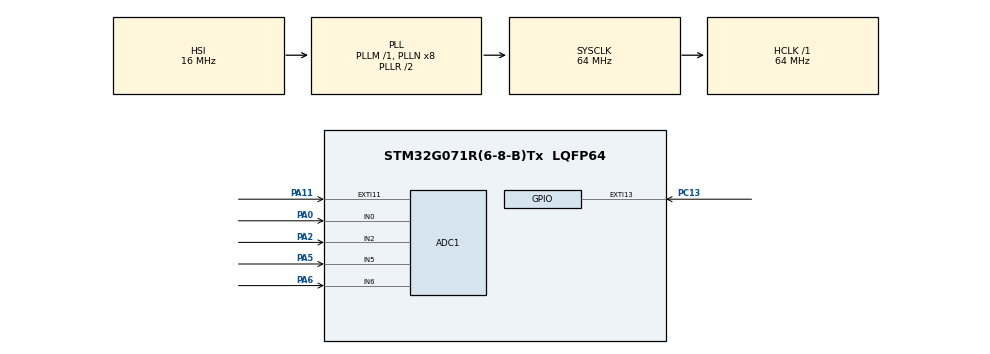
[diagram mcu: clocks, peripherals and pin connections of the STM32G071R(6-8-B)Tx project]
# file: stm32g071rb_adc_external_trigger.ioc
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ADC1.AWD1HighThreshold=212
ADC1.AWD1ITMode=ENABLE
ADC1.Channel-0\#ChannelRegularConversion=ADC_CHANNEL_0
ADC1.Channel-1\#ChannelRegularConversion=ADC_CHANNEL_2
ADC1.Channel-2\#ChannelRegularConversion=ADC_CHANNEL_5
ADC1.Channel-3\#ChannelRegularConversion=ADC_CHANNEL_6
ADC1.ClockPrescaler=ADC_CLOCK_ASYNC_DIV4
ADC1.DMAContinuousRequests=ENABLE
ADC1.EnableAnalogWatchDog1=true
ADC1.EnableAnalogWatchDog2=false
ADC1.ExternalTrigConvEdge=ADC_EXTERNALTRIGCONVEDGE_FALLING
ADC1.NbrOfConversion=4
ADC1.NbrOfConversionFlag=1
ADC1.OversamplingMode=ENABLE
ADC1.Rank-0\#ChannelRegularConversion=1
ADC1.Rank-1\#ChannelRegularConversion=2
ADC1.Rank-2\#ChannelRegularConversion=3
ADC1.Rank-3\#ChannelRegularConversion=4
ADC1.Ratio=ADC_OVERSAMPLING_RATIO_4
ADC1.RightBitShift=ADC_RIGHTBITSHIFT_2
ADC1.SamplingTime-0\#ChannelRegularConversion=ADC_SAMPLINGTIME_COMMON_1
ADC1.SamplingTime-1\#ChannelRegularConversion=ADC_SAMPLINGTIME_COMMON_1
ADC1.SamplingTime-2\#ChannelRegularConversion=ADC_SAMPLINGTIME_COMMON_1
ADC1.SamplingTime-3\#ChannelRegularConversion=ADC_SAMPLINGTIME_COMMON_1
ADC1.SelectedChannel=ADC_CHANNEL_0|ADC_CHANNEL_2|ADC_CHANNEL_5|ADC_CHANNEL_6
ADC1.master=1
Dma.ADC1.0.Direction=DMA_PERIPH_TO_MEMORY
Dma.ADC1.0.EventEnable=DISABLE
Dma.ADC1.0.Instance=DMA1_Channel1
Dma.ADC1.0.MemDataAlignment=DMA_MDATAALIGN_HALFWORD
Dma.ADC1.0.MemInc=DMA_MINC_ENABLE
Dma.ADC1.0.Mode=DMA_CIRCULAR
Dma.ADC1.0.PeriphDataAlignment=DMA_PDATAALIGN_HALFWORD
Dma.ADC1.0.PeriphInc=DMA_PINC_DISABLE
Dma.ADC1.0.Polarity=HAL_DMAMUX_REQ_GEN_RISING
Dma.ADC1.0.Priority=DMA_PRIORITY_LOW
Dma.ADC1.0.RequestNumber=1
Dma.ADC1.0.SignalID=NONE
Dma.ADC1.0.SyncEnable=DISABLE
Dma.ADC1.0.SyncPolarity=HAL_DMAMUX_SYNC_NO_EVENT
Dma.ADC1.0.SyncRequestNumber=1
Dma.ADC1.0.SyncSignalID=NONE
Dma.Request0=ADC1
Mcu.Family=STM32G0
Mcu.Name=STM32G071R(6-8-B)Tx
Mcu.Package=LQFP64
NVIC.ADC1_COMP_IRQn=true\:0\:0\:false\:false\:true\:true\:true
NVIC.DMA1_Channel1_IRQn=true\:0\:0\:false\:false\:true\:false\:true
PA0.Mode=IN0
PA0.Signal=ADC1_IN0
PA11\ [PA9].Signal=GPXTI11
PA2.Mode=IN2
PA2.Signal=ADC1_IN2
PA5.Mode=IN5
PA5.Signal=ADC1_IN5
PA6.Mode=IN6
PA6.Signal=ADC1_IN6
PC13.GPIO_ModeDefaultEXTI=GPIO_MODE_EVT_FALLING
PC13.Signal=GPXTI13
ProjectManager.HeapSize=0x200
ProjectManager.StackSize=0x400
ProjectManager.TargetToolchain=MDK-ARM V5
RCC.ADCFreq_Value=64000000
RCC.AHBFreq_Value=64000000
RCC.CortexFreq_Value=64000000
RCC.EXTERNAL_CLOCK_VALUE=48000
RCC.HCLKFreq_Value=64000000
RCC.HSE_VALUE=8000000
RCC.HSI_VALUE=16000000
RCC.LSE_VALUE=32768
RCC.SYSCLKFreq_VALUE=64000000
RCC.SYSCLKSource=RCC_SYSCLKSOURCE_PLLCLK
RCC.VCOOutputFreq_Value=128000000
VP_SYS_VS_DBSignals.Mode=DisableDeadBatterySignals
board=custom

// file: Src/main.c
/* USER CODE BEGIN Header */
/**
  ******************************************************************************
  * @file           : main.c
  * @brief          : Main program body
  ******************************************************************************
  * @attention
  *
  * <h2><center>&copy; Copyright (c) 2020 STMicroelectronics.
  * All rights reserved.</center></h2>
  *
  * This software component is licensed by ST under BSD 3-Clause license,
  * the "License"; You may not use this file except in compliance with the
  * License. You may obtain a copy of the License at:
  *                        opensource.org/licenses/BSD-3-Clause
  *
  ******************************************************************************
  */
/* USER CODE END Header */
#include "main.h"
#include "adc.h"
#include "dma.h"
#include "gpio.h"

void SystemClock_Config(void);

/* USER CODE BEGIN 0 */
#define adc_len (4)
static uint16_t aADCxConvertedData[adc_len];
enum
{
	EXTI_TRIGGER = 0x00,
	SOFT_TRIGGER = 0x01
};
static uint8_t ADC_TRIGGER = EXTI_TRIGGER;
static uint8_t CLL_OCP_FLAG = RESET;
/* USER CODE END 0 */

int main(void)
{

  /* MCU Configuration--------------------------------------------------------*/

  /* Reset of all peripherals, Initializes the Flash interface and the Systick. */
  HAL_Init();

  /* Configure the system clock */
  SystemClock_Config();

  /* Initialize all configured peripherals */
  MX_GPIO_Init();
  MX_DMA_Init();
  MX_ADC1_Init();
  /* USER CODE BEGIN 2 */
 /* Run the ADC calibration */
   if (HAL_ADCEx_Calibration_Start(&hadc1) != HAL_OK)
   {
       Error_Handler();
   }
    /* Start ADC group regular conversion with DMA */
   if (HAL_ADC_Start_DMA(&hadc1,(uint32_t *)aADCxConvertedData, adc_len) != HAL_OK)
   {
       Error_Handler();
   }

  /* USER CODE END 2 */

  /* Infinite loop */
  while (1)
  {

  }
}

void SystemClock_Config(void)
{
  RCC_OscInitTypeDef RCC_OscInitStruct = {0};
  RCC_ClkInitTypeDef RCC_ClkInitStruct = {0};
  RCC_PeriphCLKInitTypeDef PeriphClkInit = {0};

  /** Configure the main internal regulator output voltage
  */
  HAL_PWREx_ControlVoltageScaling(PWR_REGULATOR_VOLTAGE_SCALE1);
  /** Initializes the RCC Oscillators according to the specified parameters
  * in the RCC_OscInitTypeDef structure.
  */
  RCC_OscInitStruct.OscillatorType = RCC_OSCILLATORTYPE_HSI;
  RCC_OscInitStruct.HSIState = RCC_HSI_ON;
  RCC_OscInitStruct.HSIDiv = RCC_HSI_DIV1;
  RCC_OscInitStruct.HSICalibrationValue = RCC_HSICALIBRATION_DEFAULT;
  RCC_OscInitStruct.PLL.PLLState = RCC_PLL_ON;
  RCC_OscInitStruct.PLL.PLLSource = RCC_PLLSOURCE_HSI;
  RCC_OscInitStruct.PLL.PLLM = RCC_PLLM_DIV1;
  RCC_OscInitStruct.PLL.PLLN = 8;
  RCC_OscInitStruct.PLL.PLLP = RCC_PLLP_DIV2;
  RCC_OscInitStruct.PLL.PLLQ = RCC_PLLQ_DIV2;
  RCC_OscInitStruct.PLL.PLLR = RCC_PLLR_DIV2;
  if (HAL_RCC_OscConfig(&RCC_OscInitStruct) != HAL_OK)
  {
    Error_Handler();
  }
  /** Initializes the CPU, AHB and APB buses clocks
  */
  RCC_ClkInitStruct.ClockType = RCC_CLOCKTYPE_HCLK|RCC_CLOCKTYPE_SYSCLK
                              |RCC_CLOCKTYPE_PCLK1;
  RCC_ClkInitStruct.SYSCLKSource = RCC_SYSCLKSOURCE_PLLCLK;
  RCC_ClkInitStruct.AHBCLKDivider = RCC_SYSCLK_DIV1;
  RCC_ClkInitStruct.APB1CLKDivider = RCC_HCLK_DIV1;

  if (HAL_RCC_ClockConfig(&RCC_ClkInitStruct, FLASH_LATENCY_2) != HAL_OK)
  {
    Error_Handler();
  }
  /** Initializes the peripherals clocks
  */
  PeriphClkInit.PeriphClockSelection = RCC_PERIPHCLK_ADC;
  PeriphClkInit.AdcClockSelection = RCC_ADCCLKSOURCE_SYSCLK;
  if (HAL_RCCEx_PeriphCLKConfig(&PeriphClkInit) != HAL_OK)
  {
    Error_Handler();
  }
}

/* USER CODE BEGIN 4 */
void HAL_ADC_ConvCpltCallback(ADC_HandleTypeDef *hadc)
{
	if(CLL_OCP_FLAG == SET)
	{
    if(ADC_TRIGGER == EXTI_TRIGGER)
	  {
			//goto software trigger
			HAL_ADC_Stop_DMA(&hadc1);
			hadc1.Init.ExternalTrigConv = ADC_SOFTWARE_START;
			hadc1.Init.ExternalTrigConvEdge = ADC_EXTERNALTRIGCONVEDGE_NONE;
			if (HAL_ADC_Init(&hadc1) != HAL_OK)
			{
				Error_Handler();
			}

			ADC_TRIGGER = SOFT_TRIGGER;
			if (HAL_ADC_Start_DMA(&hadc1,(uint32_t *)aADCxConvertedData, adc_len) != HAL_OK)
			{
				Error_Handler();
			}
		}
		else
		{
			if(ADC_TRIGGER == SOFT_TRIGGER)
			{
				if(aADCxConvertedData[0] < 3400)
				{
					CLL_OCP_FLAG = RESET;

					//goto exti trigger
					HAL_ADC_Stop_DMA(&hadc1);
					hadc1.Init.ExternalTrigConv = ADC_EXTERNALTRIG_EXT_IT11;
					hadc1.Init.ExternalTrigConvEdge = ADC_EXTERNALTRIGCONVEDGE_FALLING;
					if (HAL_ADC_Init(&hadc1) != HAL_OK)
					{
						Error_Handler();
					}

					ADC_TRIGGER = EXTI_TRIGGER;
					if (HAL_ADC_Start_DMA(&hadc1,(uint32_t *)aADCxConvertedData, adc_len) != HAL_OK)
					{
						Error_Handler();
					}
				}
				else
				{
					if (HAL_ADC_Start_DMA(&hadc1,(uint32_t *)aADCxConvertedData, adc_len) != HAL_OK)
					{
						Error_Handler();
					}
				}
			}
		}
	}
}

void HAL_ADC_LevelOutOfWindowCallback(ADC_HandleTypeDef* hadc)
{
  CLL_OCP_FLAG = SET;
}

/* USER CODE END 4 */

void Error_Handler(void)
{
}

/************************ (C) COPYRIGHT STMicroelectronics *****END OF FILE****/
